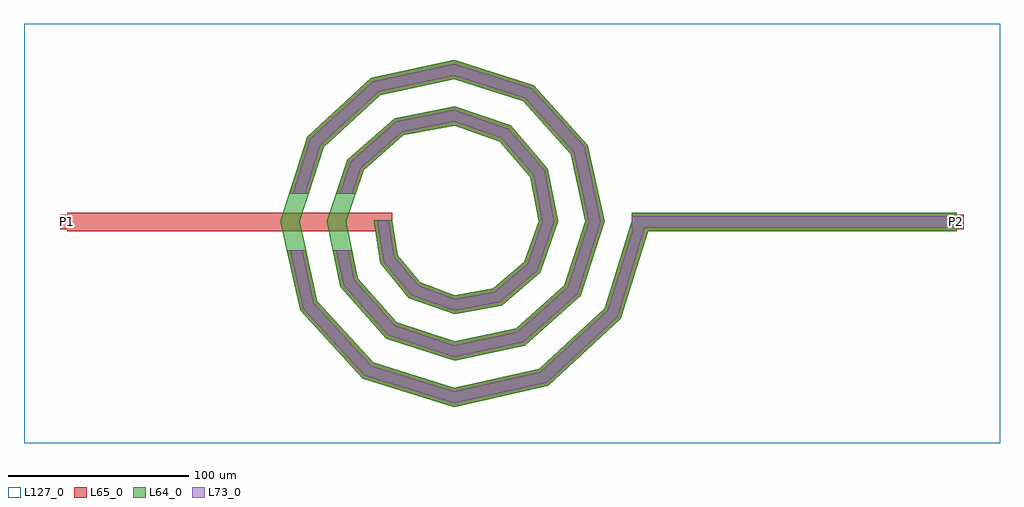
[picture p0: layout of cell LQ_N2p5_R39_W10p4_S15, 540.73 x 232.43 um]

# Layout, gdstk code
import gdstk
lib = gdstk.Library(unit=1e-6, precision=1e-09)
def R(c, l, rs):  # rectangles x0, y0, x1, y1
    for r in rs: c.add(gdstk.rectangle(r[:2], r[2:], *l))
def P(c, l, *ps):  # polygons
    for p in ps: c.add(gdstk.Polygon(p, *l))
L64_0 = (64, 0)
L65_0 = (65, 0)
L73_0 = (73, 0)
L127_0 = (127, 0)

lq_n2p5_r39_w10p4_s15 = lib.new_cell('LQ_N2p5_R39_W10p4_S15')
R(lq_n2p5_r39_w10p4_s15, L64_0, [(98.482,-5.2,278.482,5.2)])
P(lq_n2p5_r39_w10p4_s15, L64_0, [(-31.117,-18.561),(-18.759,-33.472),(0.468,-40.507),(21.71,-36.709),(39,-22.023),(46.926,0.41),(42.295,24.875),(25.274,44.536),(0.366,53.347),(-28.049,47.877),(-50.077,28.518),(-59.768,0.33),(-53.454,-31.231),(-31.756,-55.623),(0.3,-66.189),(34.418,-59.03),(61.171,-34.99),(72.612,0.276),(64.603,37.608),(38.22,66.722),(0.255,79.034),(-40.802,70.175),(-72.275,41.448),(-85.456,0.237),(-75.746,-43.999),(-44.673,-77.829),(0.221,-91.879),(47.197,-81.316),(83.384,-47.897),(98.715,1.54),(108.648,-1.54),(92.49,-53.644),(52.202,-90.85),(0.221,-102.638),(-50.444,-86.92),(-85.294,-48.978),(-96.214,0.237),(-81.348,47.246),(-45.751,79.739),(0.255,89.79),(44.051,75.776),(74.186,42.522),(83.366,0.276),(70.201,-40.858),(39.289,-68.634),(0.3,-76.942),(-37.668,-64.624),(-63.084,-36.053),(-70.517,0.33),(-59.045,34.483),(-32.811,57.537),(0.366,64.092),(31.304,53.461),(51.993,29.563),(57.666,0.41),(47.871,-28.132),(26.304,-46.453),(0.468,-51.239),(-24.973,-42.273),(-40.92,-23.03),(-44.58,0.847),(-34.319,0.847)])
R(lq_n2p5_r39_w10p4_s15, L65_0, [(-214.25,-5.2,-34.25,5.2), (98.482,-5.2,278.482,5.2), (-218.25,-4,-210.25,4), (274.482,-4,282.482,4)])
P(lq_n2p5_r39_w10p4_s15, L65_0, [(-75.746,-43.999),(-44.673,-77.829),(0.221,-91.879),(47.197,-81.316),(83.384,-47.897),(98.715,1.54),(108.649,-1.54),(92.49,-53.644),(52.202,-90.85),(0.221,-102.638),(-50.444,-86.92),(-85.294,-48.978),(-92.7,-15.6),(-82.047,-15.6)],
  [(-53.455,-31.231),(-31.756,-55.623),(0.3,-66.19),(34.418,-59.03),(61.171,-34.99),(72.612,0.276),(64.603,37.608),(38.22,66.722),(0.255,79.034),(-40.802,70.175),(-72.275,41.448),(-80.448,15.6),(-91.356,15.6),(-81.349,47.246),(-45.751,79.739),(0.255,89.79),(44.051,75.776),(74.186,42.522),(83.366,0.276),(70.201,-40.858),(39.289,-68.634),(0.3,-76.942),(-37.668,-64.624),(-63.084,-36.053),(-67.263,-15.6),(-56.648,-15.6)],
  [(-18.759,-33.472),(0.468,-40.507),(21.71,-36.709),(39,-22.023),(46.926,0.41),(42.295,24.875),(25.275,44.536),(0.366,53.347),(-28.049,47.877),(-50.077,28.518),(-54.417,15.6),(-65.388,15.6),(-59.045,34.483),(-32.811,57.537),(0.366,64.092),(31.304,53.461),(51.993,29.563),(57.666,0.41),(47.871,-28.133),(26.304,-46.453),(0.468,-51.239),(-24.973,-42.273),(-40.92,-23.03),(-44.58,0.847),(-34.319,0.847),(-31.117,-18.561)])
R(lq_n2p5_r39_w10p4_s15, L73_0, [(98.482,-3.2,278.482,3.2)])
P(lq_n2p5_r39_w10p4_s15, L73_0, [(-77.582,-44.956),(-45.783,-79.577),(0.136,-93.948),(48.16,-83.149),(85.135,-49.002),(100.625,0.948),(106.738,0.948),(90.739,-52.539),(51.24,-89.016),(0.136,-100.569),(-49.334,-85.172),(-83.458,-48.02),(-90.652,-15.6),(-84.096,-15.6)],
  [(-55.306,-32.158),(-32.893,-57.354),(0.185,-68.257),(35.354,-60.877),(62.908,-36.119),(74.68,0.17),(66.446,38.553),(39.342,68.463),(0.157,81.103),(-41.754,72.015),(-74.02,42.563),(-82.546,15.6),(-89.258,15.6),(-79.604,46.131),(-44.799,77.9),(0.157,87.722),(42.93,74.035),(72.343,41.577),(81.298,0.17),(68.465,-39.729),(38.352,-66.787),(0.185,-74.874),(-36.531,-62.893),(-61.232,-35.126),(-65.222,-15.6),(-58.689,-15.6)],
  [(-19.954,-35.165),(0.288,-42.571),(22.594,-38.583),(40.706,-23.198),(48.992,0.253),(44.16,25.776),(26.434,46.252),(0.225,55.413),(-28.965,49.734),(-51.802,29.665),(-56.527,15.6),(-63.278,15.6),(-57.32,33.336),(-31.896,55.679),(0.225,62.026),(30.144,51.744),(50.128,28.661),(55.601,0.253),(46.165,-26.958),(25.42,-44.579),(0.288,-49.175),(-23.778,-40.581),(-39.035,-22.171),(-42.607,0.521),(-36.292,0.521),(-33.002,-19.42)])
R(lq_n2p5_r39_w10p4_s15, L127_0, [(-238.25,-122.638,302.482,109.79)])
lq_n2p5_r39_w10p4_s15.add(gdstk.Label('P2', (278.482,0), layer=65, texttype=0))
lq_n2p5_r39_w10p4_s15.add(gdstk.Label('P1', (-214.25,0), layer=65, texttype=0))
lq_n2p5_r39_w10p4_s15.add(gdstk.Label('P2', (282.482,0), layer=145, texttype=0))
lq_n2p5_r39_w10p4_s15.add(gdstk.Label('P1', (-218.25,0), layer=145, texttype=0))

lib.write_gds('LQ_N2p5_R39_W10p4_S15.gds')
